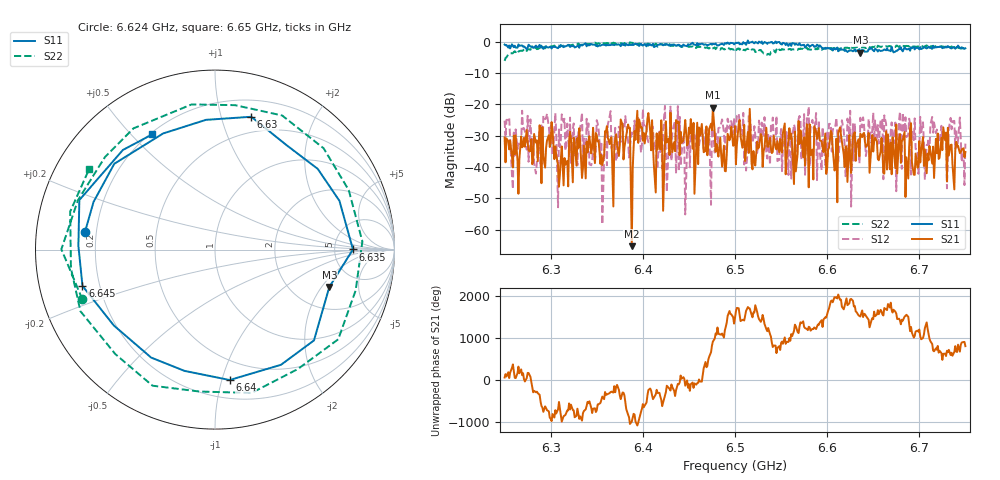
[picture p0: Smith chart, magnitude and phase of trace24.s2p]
# Hz S RI R 50
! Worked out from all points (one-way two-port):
!   401 points, 6.25 GHz to 6.75 GHz, reference 50 ohm
!   highest |S21| = -21.00 dB at 6.476 GHz (marker M1); lowest = -65.3 dB at 6.388 GHz (marker M2)
!   lowest |S11| = -3.5 dB at 6.636 GHz (marker M3), VSWR 5.06, Z = 157 - j119 ohm
!   |S11| at or under -10 dB: nowhere
!   |S22| runs from -6.1 to -0.1 dB; largest |S21 - S12| = 0.12
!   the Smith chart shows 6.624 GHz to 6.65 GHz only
!   S11 on the Smith chart (normalised r, x): 6.624 GHz: 0.16, +0.07; 6.63 GHz: 0.35, +1.25; 6.635 GHz: 7.65, +0.03; 6.64 GHz: 0.34, -1.06; 6.645 GHz: 0.14, -0.13; 6.65 GHz: 0.21, +0.57
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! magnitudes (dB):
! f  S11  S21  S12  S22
! 6.25 GHz  -0.8  -30.5  -25.2  -6.1
! 6.259 GHz  -1.3  -40.1  -47.1  -3.6
! 6.286 GHz  -1.7  -38.2  -33.1  -2.2
! 6.295 GHz  -1.7  -33.8  -24.4  -1.3
! 6.334 GHz  -1.2  -43.5  -22.6  -0.9
! 6.384 GHz  -1.0  -26.4  -31.7  -0.4
! 6.388 GHz  -1.0  -65.3  -29.0  -0.3
! 6.396 GHz  -1.3  -24.8  -26.5  -0.5
! 6.418 GHz  -0.9  -28.9  -28.7  -0.7
! 6.476 GHz  -0.6  -21.0  -27.8  -2.1
! 6.5 GHz  -0.5  -26.9  -31.7  -2.3
! 6.584 GHz  -0.9  -34.4  -24.9  -2.6
! 6.624 GHz  -2.7  -29.8  -29.8  -2.1
! 6.63 GHz  -2.3  -28.9  -26.0  -1.7
! 6.635 GHz  -2.3  -36.6  -38.8  -1.8
! 6.636 GHz  -3.5  -29.3  -24.2  -1.7
! 6.64 GHz  -2.7  -29.1  -26.5  -1.8
! 6.645 GHz  -2.3  -29.1  -24.6  -1.9
! 6.65 GHz  -2.7  -35.1  -22.6  -1.6
! 6.668 GHz  -2.8  -40.7  -36.6  -1.3
! 6.735 GHz  -2.1  -32.9  -27.9  -1.4
! 6.75 GHz  -2.0  -35.2  -32.5  -2.3
